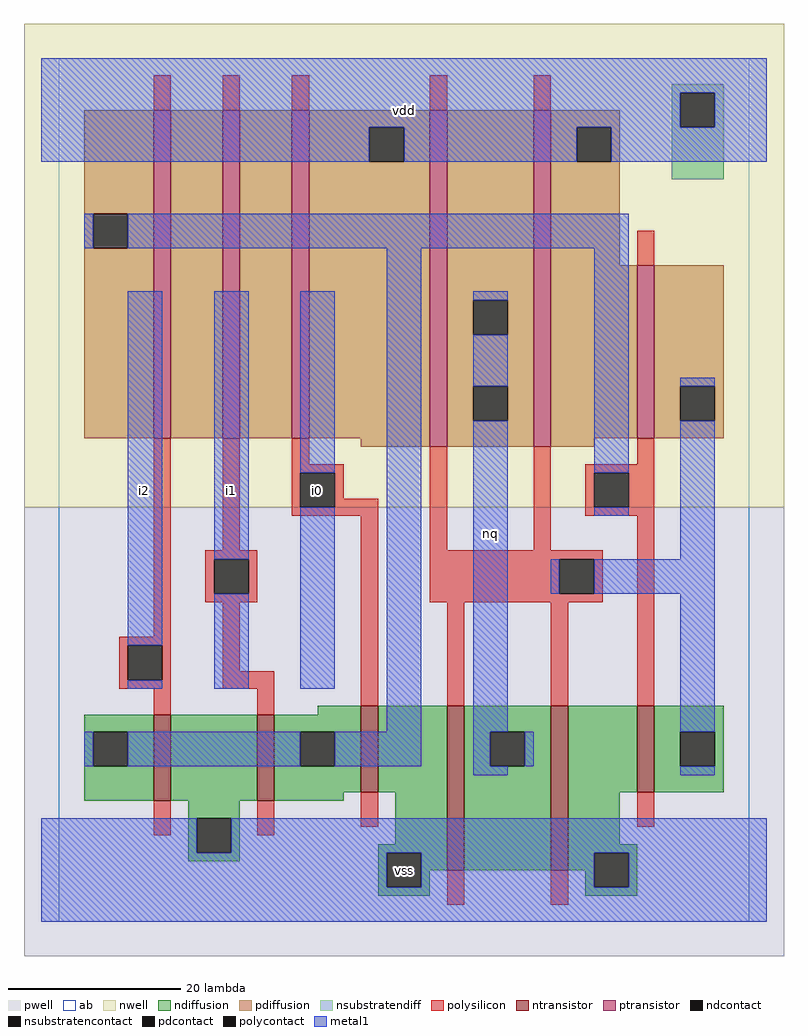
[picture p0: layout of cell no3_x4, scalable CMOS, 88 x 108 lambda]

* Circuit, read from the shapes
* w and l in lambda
.subckt no3_x4 i0 i1 i2 nq vdd vss
M1 vss i2 n1 VSUBS nfet w=10 l=2
M2 n1 i1 vss VSUBS nfet w=10 l=2
M3 vss i0 n1 VSUBS nfet w=10 l=2
M4 nq n2 vss VSUBS nfet w=19 l=2 m=2
M5 n2 n1 vss VSUBS nfet w=10 l=2
M6 n3 i2 n1 vdd pfet w=38 l=2
M7 n4 i1 n3 vdd pfet w=38 l=2
M8 vdd i0 n4 vdd pfet w=38 l=2
M9 nq n2 vdd vdd pfet w=39 l=2 m=2
M10 n2 n1 vdd vdd pfet w=20 l=2
.ends

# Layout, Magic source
magic
tech scmos
<< ab >>
rect 0 0 80 100
<< pwell >>
rect -4 -4 84 48
<< nwell >>
rect -4 48 84 104
<< polysilicon >>
rect 11 94 13 98
rect 19 94 21 98
rect 27 94 29 98
rect 43 94 45 98
rect 55 94 57 98
rect 11 33 13 56
rect 19 43 21 56
rect 27 53 29 56
rect 67 76 69 80
rect 27 52 33 53
rect 27 48 28 52
rect 32 49 33 52
rect 32 48 37 49
rect 27 47 37 48
rect 17 42 23 43
rect 17 38 18 42
rect 22 38 23 42
rect 17 37 23 38
rect 7 32 13 33
rect 7 28 8 32
rect 12 28 13 32
rect 7 27 13 28
rect 19 29 21 37
rect 19 27 25 29
rect 11 24 13 27
rect 23 24 25 27
rect 35 25 37 47
rect 43 43 45 55
rect 55 43 57 55
rect 67 53 69 56
rect 61 52 69 53
rect 61 48 62 52
rect 66 48 69 52
rect 61 47 69 48
rect 43 42 63 43
rect 43 38 58 42
rect 62 38 63 42
rect 43 37 63 38
rect 45 25 47 37
rect 57 25 59 37
rect 67 25 69 47
rect 11 10 13 14
rect 23 10 25 14
rect 35 11 37 15
rect 67 11 69 15
rect 45 2 47 6
rect 57 2 59 6
<< ndiffusion >>
rect 30 24 35 25
rect 3 22 11 24
rect 3 18 4 22
rect 8 18 11 22
rect 3 14 11 18
rect 13 14 23 24
rect 25 22 35 24
rect 25 18 28 22
rect 32 18 35 22
rect 25 15 35 18
rect 37 15 45 25
rect 25 14 33 15
rect 15 12 21 14
rect 15 8 16 12
rect 20 8 21 12
rect 39 9 45 15
rect 15 7 21 8
rect 37 8 45 9
rect 37 4 38 8
rect 42 6 45 8
rect 47 22 57 25
rect 47 18 50 22
rect 54 18 57 22
rect 47 6 57 18
rect 59 15 67 25
rect 69 22 77 25
rect 69 18 72 22
rect 76 18 77 22
rect 69 15 77 18
rect 59 9 65 15
rect 59 8 67 9
rect 59 6 62 8
rect 42 4 43 6
rect 37 3 43 4
rect 61 4 62 6
rect 66 4 67 8
rect 61 3 67 4
<< pdiffusion >>
rect 3 82 11 94
rect 3 78 4 82
rect 8 78 11 82
rect 3 56 11 78
rect 13 56 19 94
rect 21 56 27 94
rect 29 92 43 94
rect 29 88 36 92
rect 40 88 43 92
rect 29 56 43 88
rect 35 55 43 56
rect 45 72 55 94
rect 45 68 48 72
rect 52 68 55 72
rect 45 62 55 68
rect 45 58 48 62
rect 52 58 55 62
rect 45 55 55 58
rect 57 92 65 94
rect 57 88 60 92
rect 64 88 65 92
rect 57 76 65 88
rect 57 56 67 76
rect 69 62 77 76
rect 69 58 72 62
rect 76 58 77 62
rect 69 56 77 58
rect 57 55 62 56
<< metal1 >>
rect -2 96 82 100
rect -2 92 72 96
rect 76 92 82 96
rect -2 88 36 92
rect 40 88 60 92
rect 64 88 82 92
rect 3 78 4 82
rect 8 78 66 82
rect 8 32 12 73
rect 8 27 12 28
rect 18 42 22 73
rect 18 27 22 38
rect 28 52 32 73
rect 28 27 32 48
rect 38 22 42 78
rect 3 18 4 22
rect 8 18 28 22
rect 32 18 42 22
rect 48 72 52 73
rect 48 62 52 68
rect 48 22 52 58
rect 62 52 66 78
rect 62 47 66 48
rect 72 62 76 63
rect 72 42 76 58
rect 57 38 58 42
rect 62 38 76 42
rect 72 22 76 38
rect 48 18 50 22
rect 54 18 55 22
rect 48 17 52 18
rect 72 17 76 18
rect -2 8 16 12
rect 20 8 82 12
rect -2 4 38 8
rect 42 4 62 8
rect 66 4 82 8
rect -2 0 82 4
<< ntransistor >>
rect 11 14 13 24
rect 23 14 25 24
rect 35 15 37 25
rect 45 6 47 25
rect 57 6 59 25
rect 67 15 69 25
<< ptransistor >>
rect 11 56 13 94
rect 19 56 21 94
rect 27 56 29 94
rect 43 55 45 94
rect 55 55 57 94
rect 67 56 69 76
<< polycontact >>
rect 28 48 32 52
rect 18 38 22 42
rect 8 28 12 32
rect 62 48 66 52
rect 58 38 62 42
<< ndcontact >>
rect 4 18 8 22
rect 28 18 32 22
rect 16 8 20 12
rect 38 4 42 8
rect 50 18 54 22
rect 72 18 76 22
rect 62 4 66 8
<< pdcontact >>
rect 4 78 8 82
rect 36 88 40 92
rect 48 68 52 72
rect 48 58 52 62
rect 60 88 64 92
rect 72 58 76 62
<< nsubstratencontact >>
rect 72 92 76 96
<< nsubstratendiff >>
rect 71 96 77 97
rect 71 92 72 96
rect 76 92 77 96
rect 71 86 77 92
<< labels >>
rlabel metal1 10 50 10 50 6 i2
rlabel polycontact 30 50 30 50 6 i0
rlabel metal1 20 50 20 50 6 i1
rlabel ndcontact 40 6 40 6 6 vss
rlabel metal1 50 45 50 45 6 nq
rlabel metal1 40 94 40 94 6 vdd
<< end >>
